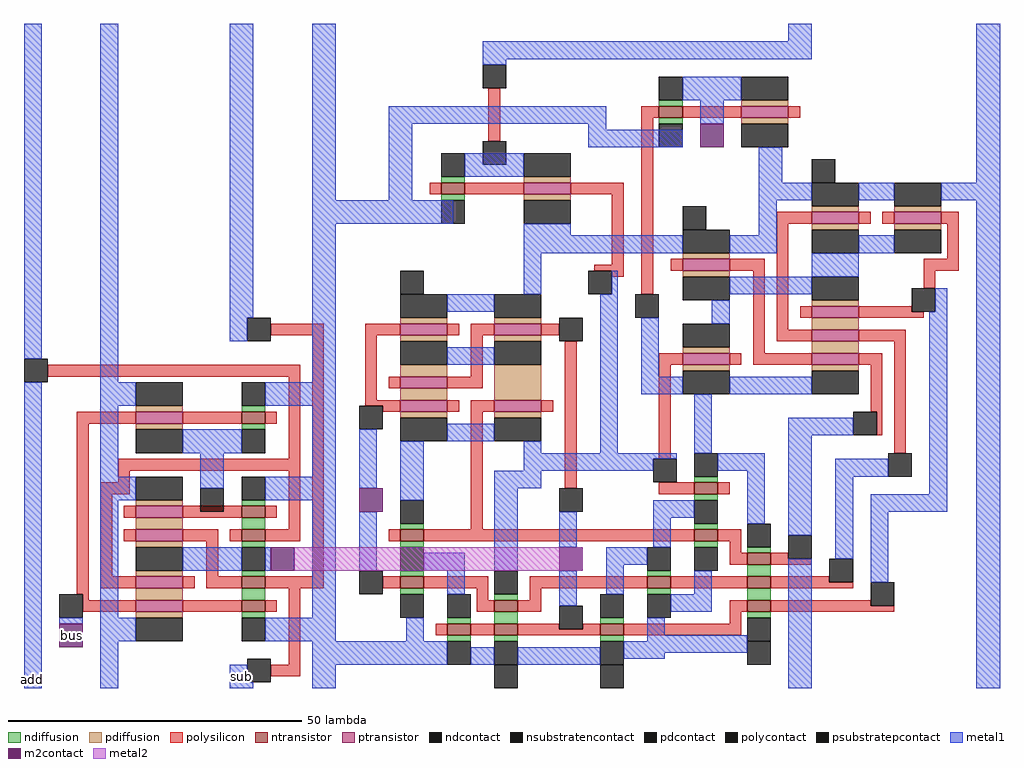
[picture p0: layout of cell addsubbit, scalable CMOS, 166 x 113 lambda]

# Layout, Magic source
magic
tech scmos
<< polysilicon >>
rect -7 60 2 62
rect -45 53 -2 55
rect -40 45 -32 47
rect -40 16 -38 45
rect -4 39 -2 53
rect 0 19 2 60
rect -6 17 2 19
rect -39 15 -38 16
rect -39 13 -32 15
rect -4 4 -2 17
rect -7 2 -2 4
<< metal1 >>
rect -49 56 -46 113
rect -36 52 -33 113
rect -14 63 -10 113
rect -14 59 -11 63
rect -49 0 -46 52
rect -36 48 -30 52
rect -8 48 1 52
rect -36 36 -33 48
rect -36 32 -30 36
rect -19 34 -15 40
rect -43 11 -39 12
rect -36 12 -33 32
rect -8 32 4 36
rect -8 20 -7 24
rect -36 8 -30 12
rect -8 8 4 12
rect -36 0 -33 8
rect -14 1 -11 4
rect -14 0 -10 1
<< metal2 >>
rect -3 20 46 24
<< polycontact >>
rect -11 59 -7 63
rect -49 52 -45 56
rect -19 30 -15 34
rect -43 12 -39 16
rect -11 1 -7 5
<< m2contact >>
rect -43 7 -39 11
rect -7 20 -3 24
use inverter  inverter_0
transform 0 -1 -1 -1 0 47
box -5 5 7 31
use xor  xor_0
transform -1 0 -8 0 1 8
box -6 0 28 31
use adderbit  adderbit_0
transform 1 0 15 0 1 4
box -15 -4 102 109
<< labels >>
rlabel m2contact -43 7 -39 11 3 bus
rlabel metal1 -14 0 -10 4 1 sub
rlabel metal1 -49 0 -46 3 2 add
<< end >>

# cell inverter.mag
magic
tech scmos
<< polysilicon >>
rect 0 29 2 31
rect 0 11 2 21
rect 0 5 2 7
<< ndiffusion >>
rect -1 7 0 11
rect 2 7 3 11
<< pdiffusion >>
rect -1 21 0 29
rect 2 21 3 29
<< metal1 >>
rect 3 11 7 21
<< ntransistor >>
rect 0 7 2 11
<< ptransistor >>
rect 0 21 2 29
<< ndcontact >>
rect -5 7 -1 11
rect 3 7 7 11
<< pdcontact >>
rect -5 21 -1 29
rect 3 21 7 29
<< labels >>
rlabel metal1 5 16 5 16 7 out
<< end >>

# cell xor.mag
magic
tech scmos
<< polysilicon >>
rect -6 29 25 31
rect -6 19 -4 29
rect 23 27 25 29
rect 23 25 28 27
rect -2 21 0 23
rect 4 21 14 23
rect 22 21 24 23
rect -6 17 0 19
rect 4 17 6 19
rect 8 17 14 19
rect 22 17 24 19
rect 8 11 10 17
rect 26 11 28 25
rect -2 9 0 11
rect 4 9 10 11
rect 12 9 14 11
rect 22 9 28 11
rect -2 5 0 7
rect 4 5 14 7
rect 22 5 24 7
<< ndiffusion >>
rect 0 23 4 24
rect 0 19 4 21
rect 0 16 4 17
rect 0 11 4 12
rect 0 7 4 9
rect 0 4 4 5
<< pdiffusion >>
rect 14 23 22 24
rect 14 19 22 21
rect 14 16 22 17
rect 14 11 22 12
rect 14 7 22 9
rect 14 4 22 5
<< metal1 >>
rect 4 12 14 16
<< ntransistor >>
rect 0 21 4 23
rect 0 17 4 19
rect 0 9 4 11
rect 0 5 4 7
<< ptransistor >>
rect 14 21 22 23
rect 14 17 22 19
rect 14 9 22 11
rect 14 5 22 7
<< ndcontact >>
rect 0 24 4 28
rect 0 12 4 16
rect 0 0 4 4
<< pdcontact >>
rect 14 24 22 28
rect 14 12 22 16
rect 14 0 22 4
<< labels >>
rlabel polysilicon -1 22 -1 22 3 a
rlabel polysilicon -1 10 -1 10 3 b
rlabel polysilicon -1 6 -1 6 3 a_
rlabel polysilicon -1 18 -1 18 3 b_
rlabel metal1 9 14 9 14 1 out
<< end >>

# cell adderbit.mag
magic
tech scmos
<< polysilicon >>
rect 15 89 17 98
rect 31 80 38 82
rect 36 68 38 80
rect 33 67 38 68
rect 36 66 38 67
rect 41 63 43 95
rect 64 75 70 77
rect 78 75 80 77
rect 82 75 84 77
rect 92 75 95 77
rect 46 67 48 69
rect 56 67 62 69
rect -6 56 0 58
rect 8 56 10 58
rect 12 56 16 58
rect 24 56 27 58
rect -6 45 -4 56
rect 12 49 14 56
rect -2 47 0 49
rect 8 47 14 49
rect -6 44 0 45
rect -3 43 0 44
rect 8 43 10 45
rect 12 43 16 45
rect 24 43 26 45
rect 12 23 14 43
rect 28 30 30 55
rect 60 53 62 67
rect 64 57 66 75
rect 93 69 95 75
rect 89 67 95 69
rect 89 64 91 67
rect 68 59 70 61
rect 78 60 87 61
rect 78 59 89 60
rect 64 55 70 57
rect 78 55 86 57
rect 44 51 48 53
rect 56 51 58 53
rect 60 51 70 53
rect 78 51 82 53
rect 44 35 46 51
rect 80 43 82 51
rect 81 39 82 43
rect 84 36 86 55
rect 44 29 50 31
rect 54 29 56 31
rect -2 21 0 23
rect 4 21 50 23
rect 54 21 58 23
rect 56 19 58 21
rect 56 17 59 19
rect 63 18 66 19
rect 63 17 70 18
rect -3 13 0 15
rect 4 13 15 15
rect 13 11 15 13
rect 22 13 42 15
rect 46 13 59 15
rect 63 14 73 15
rect 63 13 77 14
rect 22 11 24 13
rect 13 9 16 11
rect 20 9 24 11
rect 6 5 8 7
rect 12 5 16 7
rect 20 6 27 7
rect 56 9 59 11
rect 63 10 80 11
rect 63 9 84 10
rect 56 7 58 9
rect 31 6 34 7
rect 20 5 34 6
rect 38 5 58 7
<< ndiffusion >>
rect 0 23 4 24
rect 50 31 54 32
rect 50 28 54 29
rect 50 23 54 24
rect 0 20 4 21
rect 50 20 54 21
rect 59 19 63 20
rect 0 15 4 16
rect 0 12 4 13
rect 42 15 46 16
rect 59 15 63 17
rect 16 11 20 12
rect 42 12 46 13
rect 8 7 12 8
rect 16 7 20 9
rect 59 11 63 13
rect 34 7 38 8
rect 59 8 63 9
rect 8 4 12 5
rect 16 4 20 5
rect 34 4 38 5
<< pdiffusion >>
rect 70 77 78 78
rect 84 77 92 78
rect 48 69 56 70
rect 48 66 56 67
rect 0 58 8 59
rect 16 58 24 59
rect 0 55 8 56
rect 0 49 8 51
rect 16 55 24 56
rect 0 45 8 47
rect 16 45 24 51
rect 0 42 8 43
rect 16 42 24 43
rect 48 53 56 54
rect 70 74 78 75
rect 84 74 92 75
rect 70 61 78 62
rect 70 57 78 59
rect 70 53 78 55
rect 48 50 56 51
rect 70 50 78 51
<< metal1 >>
rect -15 79 -11 109
rect 66 106 70 109
rect 14 103 70 106
rect 14 102 18 103
rect -2 92 35 95
rect -2 79 2 92
rect 32 91 35 92
rect 51 92 55 96
rect 32 88 48 91
rect 61 82 65 88
rect 98 82 102 109
rect 61 79 70 82
rect -15 75 9 79
rect -15 4 -11 75
rect 21 73 29 75
rect 21 70 48 73
rect 61 73 64 79
rect 78 79 84 82
rect 92 79 102 82
rect 56 70 64 73
rect 78 70 84 73
rect 21 63 24 70
rect 36 63 37 67
rect 70 66 78 70
rect 8 60 16 63
rect 8 51 16 54
rect -7 30 -4 40
rect 8 38 16 41
rect 0 28 4 38
rect 21 36 24 38
rect 34 36 37 63
rect 56 63 70 66
rect 41 49 44 59
rect 53 58 56 62
rect 91 60 93 64
rect 41 46 48 49
rect 56 46 70 49
rect 50 36 53 46
rect 66 39 77 42
rect 21 35 47 36
rect 21 33 43 35
rect -7 16 -4 26
rect 16 30 24 33
rect 54 33 62 36
rect 4 16 11 19
rect 8 12 11 16
rect 16 16 20 30
rect 27 20 30 26
rect 43 25 50 28
rect 43 20 46 25
rect 59 24 62 33
rect 66 22 70 39
rect 35 17 42 20
rect 27 10 30 16
rect 35 12 38 17
rect 74 32 83 35
rect 74 18 77 32
rect 90 29 93 60
rect 50 12 53 16
rect 1 4 4 8
rect 46 9 53 12
rect 42 5 45 8
rect 42 4 59 5
rect -15 0 8 4
rect 12 0 16 3
rect 20 0 34 3
rect 38 2 59 4
rect 38 1 45 2
rect -15 -4 -11 0
rect 66 -4 70 18
rect 80 26 93 29
rect 80 14 83 26
rect 98 -4 102 79
<< ntransistor >>
rect 50 29 54 31
rect 0 21 4 23
rect 50 21 54 23
rect 59 17 63 19
rect 0 13 4 15
rect 42 13 46 15
rect 59 13 63 15
rect 16 9 20 11
rect 8 5 12 7
rect 16 5 20 7
rect 59 9 63 11
rect 34 5 38 7
<< ptransistor >>
rect 70 75 78 77
rect 84 75 92 77
rect 48 67 56 69
rect 0 56 8 58
rect 16 56 24 58
rect 0 47 8 49
rect 0 43 8 45
rect 16 43 24 45
rect 70 59 78 61
rect 70 55 78 57
rect 48 51 56 53
rect 70 51 78 53
<< polycontact >>
rect 14 98 18 102
rect 14 85 18 89
rect 32 63 36 67
rect 40 59 44 63
rect 27 55 31 59
rect -7 40 -3 44
rect 87 60 91 64
rect 77 39 81 43
rect 43 31 47 35
rect 83 32 87 36
rect 27 26 31 30
rect 66 18 70 22
rect -7 12 -3 16
rect 73 14 77 18
rect 27 6 31 10
rect 80 10 84 14
<< ndcontact >>
rect 0 24 4 28
rect 50 32 54 36
rect 50 24 54 28
rect 0 16 4 20
rect 42 16 46 20
rect 50 16 54 20
rect 59 20 63 24
rect 0 8 4 12
rect 8 8 12 12
rect 16 12 20 16
rect 34 8 38 12
rect 42 8 46 12
rect 8 0 12 4
rect 16 0 20 4
rect 34 0 38 4
rect 59 4 63 8
<< pdcontact >>
rect 70 78 78 82
rect 84 78 92 82
rect 48 70 56 74
rect 0 59 8 63
rect 16 59 24 63
rect 48 62 56 66
rect 0 51 8 55
rect 16 51 24 55
rect 0 38 8 42
rect 16 38 24 42
rect 48 54 56 58
rect 70 70 78 74
rect 84 70 92 74
rect 70 62 78 66
rect 48 46 56 50
rect 70 46 78 50
<< m2contact >>
rect 51 88 55 92
rect -7 26 -3 30
rect 27 16 31 20
<< psubstratepcontact >>
rect 16 -4 20 0
rect 59 0 63 4
rect 34 -4 38 0
<< nsubstratencontact >>
rect 0 63 4 67
rect 70 82 74 86
rect 48 74 52 78
use inverter  inverter_1
transform 0 1 37 1 0 93
box -5 5 7 31
use inverter  inverter_0
transform 0 1 0 1 0 80
box -5 5 7 31
<< labels >>
rlabel metal1 -15 -4 -11 0 2 GND
rlabel m2contact 51 88 55 92 1 S
rlabel metal1 98 -4 102 0 8 Vdd
rlabel m2contact -7 26 -3 30 1 A
rlabel m2contact 27 16 31 20 1 B
rlabel metal1 66 -4 70 0 1 Cin
rlabel metal1 66 105 70 109 5 Cout
<< end >>
